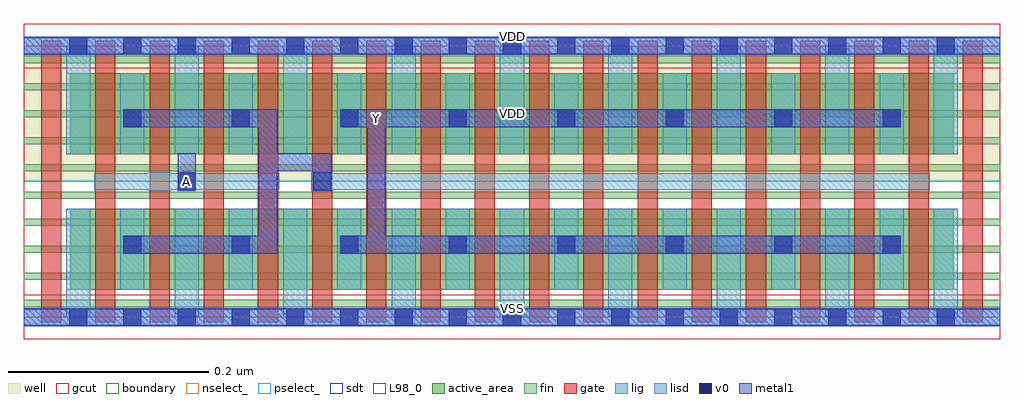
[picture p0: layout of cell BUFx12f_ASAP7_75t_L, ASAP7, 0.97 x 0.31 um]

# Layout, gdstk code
import gdstk
lib = gdstk.Library(unit=1e-6, precision=2.5e-10)
def R(c, l, rs):  # rectangles x0, y0, x1, y1
    for r in rs: c.add(gdstk.rectangle(r[:2], r[2:], *l))
def A(c, l, x, y, w, h, nx, ny, dx, dy):  # array of equal rectangles
    R(c, l, [(x+i*dx, y+j*dy, x+i*dx+w, y+j*dy+h) for i in range(nx) for j in range(ny)])
def P(c, l, *ps):  # polygons
    for p in ps: c.add(gdstk.Polygon(p, *l))
well = (1, 0)
fin = (2, 0)
gate = (7, 0)
gcut = (10, 0)
active_area = (11, 0)
nselect_ = (12, 0)
pselect_ = (13, 0)
lig = (16, 0)
lisd = (17, 0)
v0 = (18, 0)
metal1 = (19, 0)
sdt = (88, 0)
L98_0 = (98, 0)
boundary = (100, 0)

bufx12f_asap7_75t_l = lib.new_cell('BUFx12f_ASAP7_75t_L')
R(bufx12f_asap7_75t_l, well, [(0,0.135,0.972,0.27)])
A(bufx12f_asap7_75t_l, fin, 0, 0.01, 0.972, 0.007, 1, 10, 0, 0.027)
A(bufx12f_asap7_75t_l, gate, 0.017, -0.005, 0.02, 0.28, 18, 1, 0.054, 0)
R(bufx12f_asap7_75t_l, gcut, [(0,-0.022,0.972,0.022), (0,0.248,0.972,0.292)])
R(bufx12f_asap7_75t_l, active_area, [(0.046,0.027,0.926,0.108), (0.046,0.162,0.926,0.243)])
R(bufx12f_asap7_75t_l, nselect_, [(0,0,0.972,0.135)])
R(bufx12f_asap7_75t_l, pselect_, [(0,0.135,0.972,0.27)])
R(bufx12f_asap7_75t_l, lig, [(0,-0.008,0.972,0.008), (0.124,0.126,0.146,0.144), (0.286,0.126,0.308,0.144), (0.07,0.127,0.254,0.143), (0.286,0.127,0.902,0.143), (0,0.262,0.972,0.278)])
A(bufx12f_asap7_75t_l, lisd, 0.096, 0.027, 0.024, 0.081, 8, 2, 0.108, 0.135)
R(bufx12f_asap7_75t_l, lisd, [(0.042,0,0.066,0.108), (0.042,0,0.066,0.108), (0.15,0,0.174,0.108), (0.15,0,0.174,0.108), (0.258,0,0.282,0.108), (0.258,0,0.282,0.108), (0.366,0,0.39,0.108), (0.366,0,0.39,0.108), (0.474,0,0.498,0.108), (0.474,0,0.498,0.108), (0.582,0,0.606,0.108), (0.582,0,0.606,0.108), (0.69,0,0.714,0.108), (0.69,0,0.714,0.108), (0.798,0,0.822,0.108), (0.798,0,0.822,0.108), (0.906,0,0.93,0.108), (0.906,0,0.93,0.108), (0.042,0.162,0.066,0.27), (0.042,0.162,0.066,0.27), (0.15,0.162,0.174,0.27), (0.15,0.162,0.174,0.27), (0.258,0.162,0.282,0.27), (0.258,0.162,0.282,0.27), (0.366,0.162,0.39,0.27), (0.366,0.162,0.39,0.27), (0.474,0.162,0.498,0.27), (0.474,0.162,0.498,0.27), (0.582,0.162,0.606,0.27), (0.582,0.162,0.606,0.27), (0.69,0.162,0.714,0.27), (0.69,0.162,0.714,0.27), (0.798,0.162,0.822,0.27), (0.798,0.162,0.822,0.27), (0.906,0.162,0.93,0.27), (0.906,0.162,0.93,0.27)])
A(bufx12f_asap7_75t_l, v0, 0.045, -0.009, 0.018, 0.018, 17, 2, 0.054, 0.27)
A(bufx12f_asap7_75t_l, v0, 0.099, 0.063, 0.018, 0.018, 8, 2, 0.108, 0.126)
R(bufx12f_asap7_75t_l, v0, [(0.153,0.126,0.171,0.144), (0.288,0.126,0.306,0.144)])
A(bufx12f_asap7_75t_l, metal1, 0.099, 0.063, 0.018, 0.018, 8, 2, 0.108, 0.126)
R(bufx12f_asap7_75t_l, metal1, [(0,-0.009,0.972,0.009), (0.153,0.126,0.171,0.144), (0.153,0.126,0.171,0.163), (0.288,0.126,0.306,0.144), (0,0.261,0.972,0.279)])
P(bufx12f_asap7_75t_l, metal1, [(0.288,0.126),(0.306,0.126),(0.306,0.163),(0.252,0.163),(0.252,0.207),(0.099,0.207),(0.099,0.189),(0.234,0.189),(0.234,0.081),(0.099,0.081),(0.099,0.063),(0.252,0.063),(0.252,0.145),(0.288,0.145)],
  [(0.873,0.207),(0.315,0.207),(0.315,0.189),(0.342,0.189),(0.342,0.081),(0.315,0.081),(0.315,0.063),(0.873,0.063),(0.873,0.081),(0.36,0.081),(0.36,0.189),(0.873,0.189)])
A(bufx12f_asap7_75t_l, sdt, 0.042, 0.027, 0.024, 0.081, 3, 2, 0.054, 0.135)
A(bufx12f_asap7_75t_l, sdt, 0.15, 0.027, 0.024, 0.081, 3, 2, 0.054, 0.135)
A(bufx12f_asap7_75t_l, sdt, 0.258, 0.027, 0.024, 0.081, 3, 2, 0.054, 0.135)
A(bufx12f_asap7_75t_l, sdt, 0.366, 0.027, 0.024, 0.081, 3, 2, 0.054, 0.135)
A(bufx12f_asap7_75t_l, sdt, 0.474, 0.027, 0.024, 0.081, 3, 2, 0.054, 0.135)
A(bufx12f_asap7_75t_l, sdt, 0.582, 0.027, 0.024, 0.081, 3, 2, 0.054, 0.135)
A(bufx12f_asap7_75t_l, sdt, 0.69, 0.027, 0.024, 0.081, 3, 2, 0.054, 0.135)
A(bufx12f_asap7_75t_l, sdt, 0.798, 0.027, 0.024, 0.081, 3, 2, 0.054, 0.135)
R(bufx12f_asap7_75t_l, sdt, [(0.042,0.027,0.066,0.108), (0.906,0.027,0.93,0.108), (0.042,0.162,0.066,0.243), (0.906,0.162,0.93,0.243)])
R(bufx12f_asap7_75t_l, L98_0, [(0,0,0.972,0.27)])
R(bufx12f_asap7_75t_l, boundary, [(0,0,0.972,0.27)])
bufx12f_asap7_75t_l.add(gdstk.Label('VDD', (0.486,0.2025), layer=1, texttype=251))
bufx12f_asap7_75t_l.add(gdstk.Label('VSS', (0.486,-0.0675), layer=3, texttype=251))
bufx12f_asap7_75t_l.add(gdstk.Label('VSS', (0.486,0.009), layer=19, texttype=251))
bufx12f_asap7_75t_l.add(gdstk.Label('VDD', (0.486,0.279), layer=19, texttype=251))
bufx12f_asap7_75t_l.add(gdstk.Label('A', (0.162,0.135), layer=19, texttype=251))
bufx12f_asap7_75t_l.add(gdstk.Label('Y', (0.351,0.198), layer=19, texttype=251))

lib.write_gds('BUFx12f_ASAP7_75t_L.gds')
